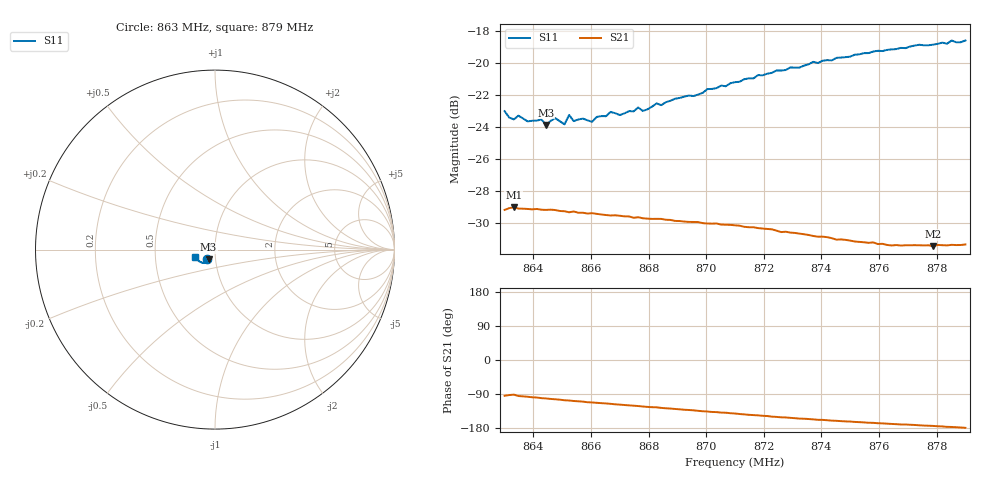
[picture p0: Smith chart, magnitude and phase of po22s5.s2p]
# HZ S RI R 50
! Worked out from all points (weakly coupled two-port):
!   101 points, 863 MHz to 879 MHz, reference 50 ohm
!   highest |S21| = -29.01 dB at 863.32 MHz (marker M1); lowest = -31.4 dB at 877.88 MHz (marker M2)
!   lowest |S11| = -23.9 dB at 864.44 MHz (marker M3), VSWR 1.14, Z = 46.3 - j4.93 ohm
!   |S11| at or under -10 dB: start of sweep to end of sweep
!   S12 and S22 are empty: the file has one direction only
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8.63e8  -0.0456 -0.0542  -0.00271 -0.0347  0 0  0 0
8.6332e8  -0.0391 -0.0541  -0.000887 -0.0354  0 0  0 0
8.6348e8  -0.0441 -0.0525  -0.00308 -0.035  0 0  0 0
8.638e8  -0.0401 -0.0521  -0.00425 -0.0348  0 0  0 0
8.6428e8  -0.0388 -0.0543  -0.00647 -0.0342  0 0  0 0
8.6444e8  -0.036 -0.0531  -0.00692 -0.0341  0 0  0 0
8.6476e8  -0.0395 -0.0546  -0.00818 -0.0338  0 0  0 0
8.6508e8  -0.0339 -0.0548  -0.00963 -0.0331  0 0  0 0
8.6524e8  -0.0402 -0.056  -0.00993 -0.0327  0 0  0 0
8.654e8  -0.037 -0.0546  -0.0108 -0.0327  0 0  0 0
8.6572e8  -0.035 -0.0573  -0.0116 -0.0321  0 0  0 0
8.6604e8  -0.0337 -0.0563  -0.0127 -0.0315  0 0  0 0
8.6668e8  -0.037 -0.06  -0.0145 -0.0301  0 0  0 0
8.67e8  -0.0341 -0.0598  -0.0156 -0.0295  0 0  0 0
8.6764e8  -0.0355 -0.0635  -0.0172 -0.0281  0 0  0 0
8.678e8  -0.034 -0.0623  -0.0177 -0.0276  0 0  0 0
8.6844e8  -0.0362 -0.0645  -0.0193 -0.0262  0 0  0 0
8.71e8  -0.0475 -0.0732  -0.0243 -0.0195  0 0  0 0
8.7372e8  -0.0676 -0.0751  -0.0265 -0.0114  0 0  0 0
8.7644e8  -0.0913 -0.0622  -0.0264 -0.00526  0 0  0 0
8.7788e8  -0.1027 -0.0502  -0.0266 -0.00282  0 0  0 0
8.79e8  -0.1108 -0.0401  -0.0271 -0.000466  0 0  0 0
